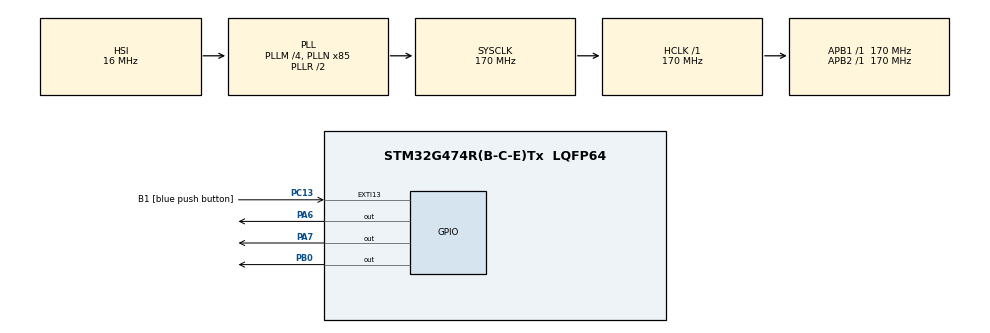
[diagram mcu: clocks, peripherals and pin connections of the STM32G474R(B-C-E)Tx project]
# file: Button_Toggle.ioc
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Mcu.Family=STM32G4
Mcu.Name=STM32G474R(B-C-E)Tx
Mcu.Package=LQFP64
NUCLEO-G474RE.VCP=true
NVIC.EXTI15_10_IRQn=true\:0\:0\:false\:false\:true\:true\:true\:true
NVIC.PriorityGroup=NVIC_PRIORITYGROUP_4
PA13.GPIO_Label=T_SWDIO
PA13.Signal=SYS_JTMS-SWDIO
PA14.GPIO_Label=T_SWCLK
PA14.Signal=SYS_JTCK-SWCLK
PA2.Signal=LPUART1_TX
PA3.Signal=LPUART1_RX
PA6.Signal=GPIO_Output
PA7.Signal=GPIO_Output
PB0.Signal=GPIO_Output
PB3.GPIO_Label=T_SWO
PB3.Signal=SYS_JTDO-SWO
PC13.GPIO_Label=B1 [blue push button]
PC13.Signal=GPXTI13
PC14-OSC32_IN.GPIO_Label=RCC_OSC32_IN
PC14-OSC32_IN.Signal=RCC_OSC32_IN
PC15-OSC32_OUT.GPIO_Label=RCC_OSC32_OUT
PC15-OSC32_OUT.Signal=RCC_OSC32_OUT
PF0-OSC_IN.GPIO_Label=RCC_OSC_IN
PF0-OSC_IN.Signal=RCC_OSC_IN
PF1-OSC_OUT.GPIO_Label=RCC_OSC_OUT
PF1-OSC_OUT.Signal=RCC_OSC_OUT
ProjectManager.HeapSize=0x200
ProjectManager.StackSize=0x400
ProjectManager.TargetToolchain=STM32CubeIDE
RCC.ADC12Freq_Value=170000000
RCC.ADC345Freq_Value=170000000
RCC.AHBFreq_Value=170000000
RCC.APB1Freq_Value=170000000
RCC.APB1TimFreq_Value=170000000
RCC.APB2Freq_Value=170000000
RCC.APB2TimFreq_Value=170000000
RCC.CortexFreq_Value=170000000
RCC.EXTERNAL_CLOCK_VALUE=12288000
RCC.HCLKFreq_Value=170000000
RCC.HSE_VALUE=24000000
RCC.HSI48_VALUE=48000000
RCC.HSI_VALUE=16000000
RCC.LSE_VALUE=32768
RCC.PLLM=RCC_PLLM_DIV4
RCC.PLLN=85
RCC.RTCClockSelection=RCC_RTCCLKSOURCE_LSE
RCC.SYSCLKFreq_VALUE=170000000
RCC.SYSCLKSource=RCC_SYSCLKSOURCE_PLLCLK
RCC.USBFreq_Value=170000000
RCC.VCOOutputFreq_Value=340000000
VP_NUCLEO-G474RE_VS_BSP_COMMON.Mode=COMMON
VP_SYS_VS_DBSignals.Mode=DisableDeadBatterySignals
board=NUCLEO-G474RE

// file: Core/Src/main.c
/* USER CODE BEGIN Header */
/**
  ******************************************************************************
  * @file           : main.c
  * @brief          : Main program body
  ******************************************************************************
  * @attention
  *
  * Copyright (c) 2025 STMicroelectronics.
  * All rights reserved.
  *
  * This software is licensed under terms that can be found in the LICENSE file
  * in the root directory of this software component.
  * If no LICENSE file comes with this software, it is provided AS-IS.
  *
  ******************************************************************************
  */
/* USER CODE END Header */
#include "main.h"

COM_InitTypeDef BspCOMInit;

/* USER CODE BEGIN PV */

void set_led(GPIO_TypeDef *port, uint16_t pin, uint8_t on){
	HAL_GPIO_WritePin(port, pin, on);
}

void rgb(uint8_t r, uint8_t g, uint8_t b){
	set_led(GPIOA, GPIO_PIN_6, r);
	set_led(GPIOA, GPIO_PIN_7, g);
	set_led(GPIOB, GPIO_PIN_0, b);
}
/* USER CODE END PV */

void SystemClock_Config(void);
static void MX_GPIO_Init(void);

int main(void)
{

  /* MCU Configuration--------------------------------------------------------*/

  /* Reset of all peripherals, Initializes the Flash interface and the Systick. */
  HAL_Init();

  /* Configure the system clock */
  SystemClock_Config();

  /* Initialize all configured peripherals */
  MX_GPIO_Init();

  /* Initialize COM1 port (115200, 8 bits (7-bit data + 1 stop bit), no parity */
  BspCOMInit.BaudRate   = 115200;
  BspCOMInit.WordLength = COM_WORDLENGTH_8B;
  BspCOMInit.StopBits   = COM_STOPBITS_1;
  BspCOMInit.Parity     = COM_PARITY_NONE;
  BspCOMInit.HwFlowCtl  = COM_HWCONTROL_NONE;
  if (BSP_COM_Init(COM1, &BspCOMInit) != BSP_ERROR_NONE)
  {
    Error_Handler();
  }

  /* Infinite loop */
  /* USER CODE BEGIN WHILE */
  uint8_t now = 0;
  while (1)
  {
	  now = now % 8;
	  if(HAL_GPIO_ReadPin(GPIOC, GPIO_PIN_13) == GPIO_PIN_SET){
		  switch(now){
		  case 0:
			  rgb(1, 0, 0);
			  break;
		  case 1:
			  rgb(0, 1, 0);
			  break;
		  case 2:
			  rgb(0, 0, 1);
			  break;
		  case 3:
			  rgb(1, 1, 0);
			  break;
		  case 4:
			  rgb(1, 0, 1);
			  break;
		  case 5:
			  rgb(0, 1, 1);
			  break;
		  case 6:
			  rgb(1, 1, 1);
			  break;
		  case 7:
			  rgb(0, 0, 0);
			  break;
		  }
		  HAL_Delay(600);
		  now++;
	  }
    /* USER CODE END WHILE */

  }
}

void SystemClock_Config(void)
{
  RCC_OscInitTypeDef RCC_OscInitStruct = {0};
  RCC_ClkInitTypeDef RCC_ClkInitStruct = {0};

  /** Configure the main internal regulator output voltage
  */
  HAL_PWREx_ControlVoltageScaling(PWR_REGULATOR_VOLTAGE_SCALE1_BOOST);

  /** Initializes the RCC Oscillators according to the specified parameters
  * in the RCC_OscInitTypeDef structure.
  */
  RCC_OscInitStruct.OscillatorType = RCC_OSCILLATORTYPE_HSI;
  RCC_OscInitStruct.HSIState = RCC_HSI_ON;
  RCC_OscInitStruct.HSICalibrationValue = RCC_HSICALIBRATION_DEFAULT;
  RCC_OscInitStruct.PLL.PLLState = RCC_PLL_ON;
  RCC_OscInitStruct.PLL.PLLSource = RCC_PLLSOURCE_HSI;
  RCC_OscInitStruct.PLL.PLLM = RCC_PLLM_DIV4;
  RCC_OscInitStruct.PLL.PLLN = 85;
  RCC_OscInitStruct.PLL.PLLP = RCC_PLLP_DIV2;
  RCC_OscInitStruct.PLL.PLLQ = RCC_PLLQ_DIV2;
  RCC_OscInitStruct.PLL.PLLR = RCC_PLLR_DIV2;
  if (HAL_RCC_OscConfig(&RCC_OscInitStruct) != HAL_OK)
  {
    Error_Handler();
  }

  /** Initializes the CPU, AHB and APB buses clocks
  */
  RCC_ClkInitStruct.ClockType = RCC_CLOCKTYPE_HCLK|RCC_CLOCKTYPE_SYSCLK
                              |RCC_CLOCKTYPE_PCLK1|RCC_CLOCKTYPE_PCLK2;
  RCC_ClkInitStruct.SYSCLKSource = RCC_SYSCLKSOURCE_PLLCLK;
  RCC_ClkInitStruct.AHBCLKDivider = RCC_SYSCLK_DIV1;
  RCC_ClkInitStruct.APB1CLKDivider = RCC_HCLK_DIV1;
  RCC_ClkInitStruct.APB2CLKDivider = RCC_HCLK_DIV1;

  if (HAL_RCC_ClockConfig(&RCC_ClkInitStruct, FLASH_LATENCY_4) != HAL_OK)
  {
    Error_Handler();
  }
}

static void MX_GPIO_Init(void)
{
  GPIO_InitTypeDef GPIO_InitStruct = {0};

  /* GPIO Ports Clock Enable */
  __HAL_RCC_GPIOC_CLK_ENABLE();
  __HAL_RCC_GPIOF_CLK_ENABLE();
  __HAL_RCC_GPIOA_CLK_ENABLE();
  __HAL_RCC_GPIOB_CLK_ENABLE();

  /*Configure GPIO pin Output Level */
  HAL_GPIO_WritePin(GPIOA, GPIO_PIN_6|GPIO_PIN_7, GPIO_PIN_RESET);

  /*Configure GPIO pin Output Level */
  HAL_GPIO_WritePin(GPIOB, GPIO_PIN_0, GPIO_PIN_RESET);

  /*Configure GPIO pin : B1_Pin */
  GPIO_InitStruct.Pin = B1_Pin;
  GPIO_InitStruct.Mode = GPIO_MODE_IT_RISING;
  GPIO_InitStruct.Pull = GPIO_NOPULL;
  HAL_GPIO_Init(B1_GPIO_Port, &GPIO_InitStruct);

  /*Configure GPIO pins : PA6 PA7 */
  GPIO_InitStruct.Pin = GPIO_PIN_6|GPIO_PIN_7;
  GPIO_InitStruct.Mode = GPIO_MODE_OUTPUT_PP;
  GPIO_InitStruct.Pull = GPIO_NOPULL;
  GPIO_InitStruct.Speed = GPIO_SPEED_FREQ_LOW;
  HAL_GPIO_Init(GPIOA, &GPIO_InitStruct);

  /*Configure GPIO pin : PB0 */
  GPIO_InitStruct.Pin = GPIO_PIN_0;
  GPIO_InitStruct.Mode = GPIO_MODE_OUTPUT_PP;
  GPIO_InitStruct.Pull = GPIO_NOPULL;
  GPIO_InitStruct.Speed = GPIO_SPEED_FREQ_LOW;
  HAL_GPIO_Init(GPIOB, &GPIO_InitStruct);

  /* EXTI interrupt init*/
  HAL_NVIC_SetPriority(EXTI15_10_IRQn, 0, 0);
  HAL_NVIC_EnableIRQ(EXTI15_10_IRQn);

}

void Error_Handler(void)
{
  __disable_irq();
  while (1)
  {
  }
}
